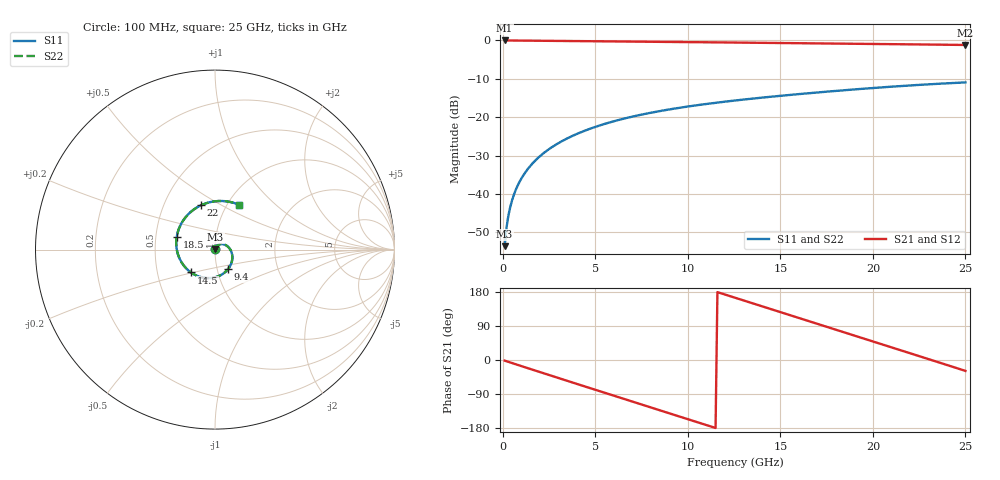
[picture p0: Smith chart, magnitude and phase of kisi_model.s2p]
! kisi P_ts6_pad_cut: fast channel model (formula impedances, via model), up to 25 GHz
# Hz S RI R 50
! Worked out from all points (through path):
!   250 points, 100 MHz to 25 GHz, reference 50 ohm
!   highest |S21| = -0.01 dB at 100 MHz (marker M1); lowest = -1.2 dB at 25 GHz (marker M2)
!   group delay of S21, straight-line fit = 43.1 ps
!   lowest |S11| = -53.6 dB at 100 MHz (marker M3), VSWR 1.00, Z = 50.1 + j0.173 ohm
!   |S11| at or under -10 dB: start of sweep to end of sweep
!   |S22| runs from -53.6 to -10.9 dB; largest |S21 - S12| = 0
!   S11 on the Smith chart (normalised r, x): 100 MHz: 1.00, +0.00; 9.4 GHz: 1.13, -0.25; 14.5 GHz: 0.74, -0.20; 18.5 GHz: 0.64, +0.10; 22 GHz: 0.76, +0.40; 25 GHz: 1.14, +0.62
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1e8  0.00118 0.00173  0.998 -0.0287  0.998 -0.0287  0.00118 0.00173
2e8  0.00144 0.00332  0.9962 -0.0569  0.9962 -0.0569  0.00144 0.00332
3e8  0.00176 0.00485  0.9936 -0.0847  0.9936 -0.0847  0.00176 0.00485
5e8  0.00259 0.0078  0.9863 -0.1398  0.9863 -0.1398  0.00259 0.0078
8e8  0.00432 0.012  0.9698 -0.2209  0.9698 -0.2209  0.00432 0.012
1.2e9  0.0076 0.0172  0.9378 -0.3258  0.9378 -0.3258  0.0076 0.0172
2.4e9  0.0235 0.0284  0.7777 -0.6079  0.7777 -0.6079  0.0235 0.0284
4.3e9  0.0599 0.0248  0.3713 -0.9052  0.3713 -0.9052  0.0599 0.0248
6.3e9  0.0916 -0.0129  -0.1484 -0.9574  -0.1484 -0.9574  0.0916 -0.0129
8.4e9  0.0904 -0.0776  -0.6337 -0.7192  -0.6337 -0.7192  0.0904 -0.0776
9.4e9  0.0726 -0.1089  -0.7986 -0.5211  -0.7986 -0.5211  0.0726 -0.1089
1.1e10  0.022 -0.147  -0.9354 -0.1376  -0.9354 -0.1376  0.022 -0.147
1.26e10  -0.0475 -0.1585  -0.8994 0.2643  -0.8994 0.2643  -0.0475 -0.1585
1.45e10  -0.1341 -0.1271  -0.6474 0.6647  -0.6474 0.6647  -0.1341 -0.1271
1.56e10  -0.1757 -0.0866  -0.422 0.8201  -0.422 0.8201  -0.1757 -0.0866
1.67e10  -0.2043 -0.0328  -0.1624 0.9022  -0.1624 0.9022  -0.2043 -0.0328
1.85e10  -0.2131 0.0723  0.2754 0.8645  0.2754 0.8645  -0.2131 0.0723
1.96e10  -0.1916 0.1377  0.5136 0.7409  0.5136 0.7409  -0.1916 0.1377
2.09e10  -0.1403 0.2053  0.7319 0.5144  0.7319 0.5144  -0.1403 0.2053
2.2e10  -0.0778 0.247  0.845 0.2749  0.845 0.2749  -0.0778 0.247
2.35e10  0.0261 0.2709  0.8767 -0.0814  0.8767 -0.0814  0.0261 0.2709
2.5e10  0.1356 0.2493  0.7655 -0.4185  0.7655 -0.4185  0.1356 0.2493
